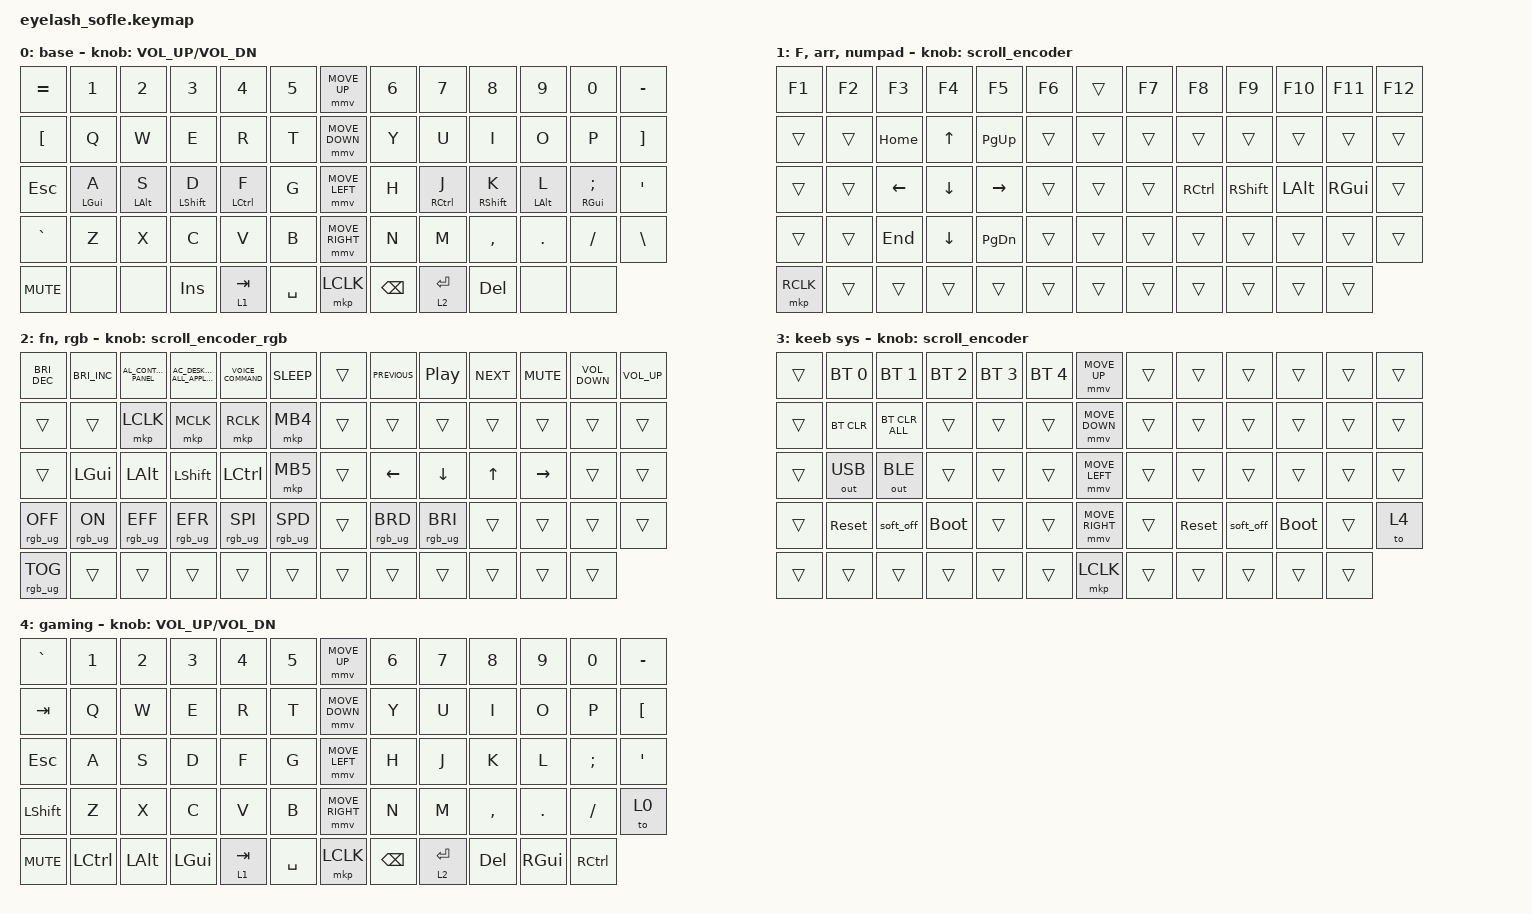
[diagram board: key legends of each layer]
#define ZMK_POINTING_DEFAULT_MOVE_VAL 1200  // 600
#define ZMK_POINTING_DEFAULT_SCRL_VAL 25   // 10

#include <input/processors.dtsi>
#include <zephyr/dt-bindings/input/input-event-codes.h>
#include <behaviors.dtsi>
#include <dt-bindings/zmk/bt.h>
#include <dt-bindings/zmk/keys.h>
#include <dt-bindings/zmk/outputs.h>
#include <dt-bindings/zmk/pointing.h>
#include <dt-bindings/zmk/rgb.h>

&mmv_input_listener { input-processors = <&zip_xy_scaler 2 1>; };

&msc_input_listener { input-processors = <&zip_scroll_scaler 2 1>; };

&msc {
    acceleration-exponent = <1>;      // 0
    time-to-max-speed-ms = <100>;       // 300
    delay-ms = <0>;                   // 0
};

&mmv {
    time-to-max-speed-ms = <500>;
    acceleration-exponent = <1>;
    trigger-period-ms = <16>;
};

&soft_off { hold-time-ms = <2000>; };

/ {
    scroll_encoder: scroll_encoder {
        compatible = "zmk,behavior-sensor-rotate";
        #sensor-binding-cells = <0>;
        bindings = <&msc SCRL_DOWN>, <&msc SCRL_UP>;

        tap-ms = <100>;
    };

    scroll_encoder_rgb: scroll_encoder_rgb {
        compatible = "zmk,behavior-sensor-rotate";
        #sensor-binding-cells = <0>;
        bindings = <&rgb_ug RGB_BRI>, <&rgb_ug RGB_BRD>;

        tap-ms = <100>;
    };

    hmlt: homerow_mods_left_timeless {
        compatible = "zmk,behavior-hold-tap";
        label = "HOMEROW_MODS_LEFT_TIMELESS";
        bindings = <&kp>, <&kp>;

        #binding-cells = <2>;
        tapping-term-ms = <300>;
        hold-trigger-key-positions = <59 60 61 62 63 7 8 9 10 11 12 20 21 22 23 24 25 33 34 35 36 37 38 46 47 48 49 10 11 12 23 24 25 36 37 38 49 50 51 63>;
        quick-tap-ms = <175>;
        require-prior-idle-ms = <100>;
        flavor = "balanced";
        hold-trigger-on-release;
    };

    hmltf: homerow_mods_left_timeless_fast {
        compatible = "zmk,behavior-hold-tap";
        label = "HOMEROW_MODS_LEFT_TIMELESS_FAST";
        bindings = <&kp>, <&kp>;

        #binding-cells = <2>;
        tapping-term-ms = <200>;
        hold-trigger-key-positions = <59 60 61 62 63 7 8 9 10 11 12 20 21 22 23 24 25 33 34 35 36 37 38 46 47 48 49 10 11 12 23 24 25 36 37 38 49 50 51 63>;
        quick-tap-ms = <170>;
        require-prior-idle-ms = <100>;
        flavor = "balanced";
        hold-trigger-on-release;
    };

    hmrt: homerow_mods_right_timeless {
        compatible = "zmk,behavior-hold-tap";
        label = "HOMEROW_MODS_RIGHT_TIMELESS";
        bindings = <&kp>, <&kp>;

        #binding-cells = <2>;
        tapping-term-ms = <300>;
        hold-trigger-key-positions = <0 1 2 3 4 5 13 14 15 16 17 18 26 27 28 29 30 31 39 40 41 42 43 44 53 54 55 56 57>;
        quick-tap-ms = <170>;
        require-prior-idle-ms = <100>;
        flavor = "balanced";
        hold-trigger-on-release;
    };

    hmrtf: homerow_mods_right_timeless_fst {
        compatible = "zmk,behavior-hold-tap";
        label = "HOMEROW_RIGHT_TIMELESS_FAST";
        bindings = <&kp>, <&kp>;

        #binding-cells = <2>;
        tapping-term-ms = <200>;
        hold-trigger-key-positions = <0 1 2 3 4 5 13 14 15 16 17 18 26 27 28 29 30 31 39 40 41 42 43 44 53 54 55 56 57>;
        quick-tap-ms = <170>;
        require-prior-idle-ms = <100>;
        flavor = "balanced";
        hold-trigger-on-release;
    };

    ltr: layer_tap_with_repeat {
        compatible = "zmk,behavior-hold-tap";
        label = "LAYER_TAP_WITH_REPEAT";
        bindings = <&mo>, <&kp>;

        #binding-cells = <2>;
        tapping-term-ms = <200>;
        quick-tap-ms = <170>;
        flavor = "balanced";
        require-prior-idle-ms = <100>;
    };

    thmbmds: thumb_mods {
        compatible = "zmk,behavior-hold-tap";
        label = "THUMB_MODS";
        bindings = <&kp>, <&kp>;

        #binding-cells = <2>;
        tapping-term-ms = <200>;
        quick-tap-ms = <170>;
        require-prior-idle-ms = <100>;
        flavor = "balanced";
        hold-trigger-key-positions = <0 1 2 3 4 5 13 14 15 16 17 18 26 27 28 29 30 31 39 40 41 42 43 44 7 8 9 10 11 12 20 21 22 23 24 25 33 34 35 36 37 38 46 47 48 49 50 51>;
        hold-trigger-on-release;
    };

    behaviors {
    };

    combos { compatible = "zmk,combos"; };

    keymap {
        compatible = "zmk,keymap";

        L0_base {
            bindings = <
&kp EQUAL         &kp N1            &kp N2            &kp N3               &kp N4                &kp N5       &mmv MOVE_UP     &kp N6         &kp N7                 &kp N8                &kp N9            &kp N0                &kp MINUS
&kp LEFT_BRACKET  &kp Q             &kp W             &kp E                &kp R                 &kp T        &mmv MOVE_DOWN   &kp Y          &kp U                  &kp I                 &kp O             &kp P                 &kp RIGHT_BRACKET
&kp ESCAPE        &hmlt LEFT_GUI A  &hmlt LEFT_ALT S  &hmltf LEFT_SHIFT D  &hmlt LEFT_CONTROL F  &kp G        &mmv MOVE_LEFT   &kp H          &hmrt RIGHT_CONTROL J  &hmrtf RIGHT_SHIFT K  &hmrt LEFT_ALT L  &hmrt RIGHT_GUI SEMI  &kp APOS
&kp GRAVE         &kp Z             &kp X             &kp C                &kp V                 &kp B        &mmv MOVE_RIGHT  &kp N          &kp M                  &kp COMMA             &kp DOT           &kp FSLH              &kp BACKSLASH
&kp C_MUTE        &none             &none             &kp INSERT           &ltr 1 TAB            &kp SPACE    &mkp LCLK        &kp BACKSPACE  &ltr 2 RETURN          &kp DELETE            &none             &none
            >;

            sensor-bindings = <&inc_dec_kp C_VOLUME_UP C_VOL_DN>;
            display-name = "base";
        };

        L1_F {
            bindings = <
&kp F1     &kp F2  &kp F3          &kp F4          &kp F5           &kp F6    &trans  &kp F7  &kp F8     &kp F9     &kp F10   &kp F11   &kp F12
&trans     &trans  &kp HOME        &kp UP_ARROW    &kp PAGE_UP      &trans    &trans  &trans  &trans     &trans     &trans    &trans    &trans
&trans     &trans  &kp LEFT_ARROW  &kp DOWN_ARROW  &kp RIGHT_ARROW  &trans    &trans  &trans  &kp RCTRL  &kp RSHFT  &kp LALT  &kp RGUI  &trans
&trans     &trans  &kp END         &kp DOWN_ARROW  &kp PAGE_DOWN    &trans    &trans  &trans  &trans     &trans     &trans    &trans    &trans
&mkp RCLK  &trans  &trans          &trans          &trans           &trans    &trans  &trans  &trans     &trans     &trans    &trans
            >;

            display-name = "F, arr, numpad";
            sensor-bindings = <&scroll_encoder>;
        };

        L2_fn {
            display-name = "fn, rgb";
            bindings = <
&kp C_BRIGHTNESS_DEC  &kp C_BRIGHTNESS_INC  &kp C_AL_CONTROL_PANEL  &kp C_AC_DESKTOP_SHOW_ALL_APPLICATIONS  &kp C_VOICE_COMMAND  &kp C_SLEEP        &trans  &kp C_PREVIOUS   &kp C_PLAY_PAUSE  &kp C_NEXT  &kp K_MUTE  &kp K_VOLUME_DOWN  &kp K_VOLUME_UP
&trans                &trans                &mkp LCLK               &mkp MCLK                               &mkp RCLK            &mkp MB4           &trans  &trans           &trans            &trans      &trans      &trans             &trans
&trans                &kp LGUI              &kp LALT                &kp LSHIFT                              &kp LCTRL            &mkp MB5           &trans  &kp LEFT         &kp DOWN          &kp UP      &kp RIGHT   &trans             &trans
&rgb_ug RGB_OFF       &rgb_ug RGB_ON        &rgb_ug RGB_EFF         &rgb_ug RGB_EFR                         &rgb_ug RGB_SPI      &rgb_ug RGB_SPD    &trans  &rgb_ug RGB_BRD  &rgb_ug RGB_BRI   &trans      &trans      &trans             &trans
&rgb_ug RGB_TOG       &trans                &trans                  &trans                                  &trans               &trans             &trans  &trans           &trans            &trans      &trans      &trans
            >;

            sensor-bindings = <&scroll_encoder_rgb>;
        };

        L3_sys {
            bindings = <
&trans  &bt BT_SEL 0  &bt BT_SEL 1    &bt BT_SEL 2  &bt BT_SEL 3  &bt BT_SEL 4    &mmv MOVE_UP     &trans  &trans      &trans     &trans       &trans  &trans
&trans  &bt BT_CLR    &bt BT_CLR_ALL  &trans        &trans        &trans          &mmv MOVE_DOWN   &trans  &trans      &trans     &trans       &trans  &trans
&trans  &out OUT_USB  &out OUT_BLE    &trans        &trans        &trans          &mmv MOVE_LEFT   &trans  &trans      &trans     &trans       &trans  &trans
&trans  &sys_reset    &soft_off       &bootloader   &trans        &trans          &mmv MOVE_RIGHT  &trans  &sys_reset  &soft_off  &bootloader  &trans  &to 4
&trans  &trans        &trans          &trans        &trans        &trans          &mkp LCLK        &trans  &trans      &trans     &trans       &trans
            >;

            sensor-bindings = <&scroll_encoder>;
            label = "keeb sys";
        };

        L4_gaming {
            display-name = "gaming";
            bindings = <
&kp GRAVE   &kp N1     &kp N2    &kp N3    &kp N4      &kp N5       &mmv MOVE_UP     &kp N6         &kp N7         &kp N8      &kp N9    &kp N0     &kp MINUS
&kp TAB     &kp Q      &kp W     &kp E     &kp R       &kp T        &mmv MOVE_DOWN   &kp Y          &kp U          &kp I       &kp O     &kp P      &kp LBKT
&kp ESCAPE  &kp A      &kp S     &kp D     &kp F       &kp G        &mmv MOVE_LEFT   &kp H          &kp J          &kp K       &kp L     &kp SEMI   &kp APOS
&kp LSHFT   &kp Z      &kp X     &kp C     &kp V       &kp B        &mmv MOVE_RIGHT  &kp N          &kp M          &kp COMMA   &kp DOT   &kp FSLH   &to 0
&kp C_MUTE  &kp LCTRL  &kp LALT  &kp LGUI  &ltr 1 TAB  &kp SPACE    &mkp LCLK        &kp BACKSPACE  &ltr 2 RETURN  &kp DELETE  &kp RGUI  &kp RCTRL
            >;

            sensor-bindings = <&inc_dec_kp C_VOLUME_UP C_VOL_DN>;
            label = "gaming";
        };
    };

    conditional_layers {
        compatible = "zmk,conditional-layers";

        both {
            if-layers = <1 2>;
            then-layer = <3>;
        };
    };
};
